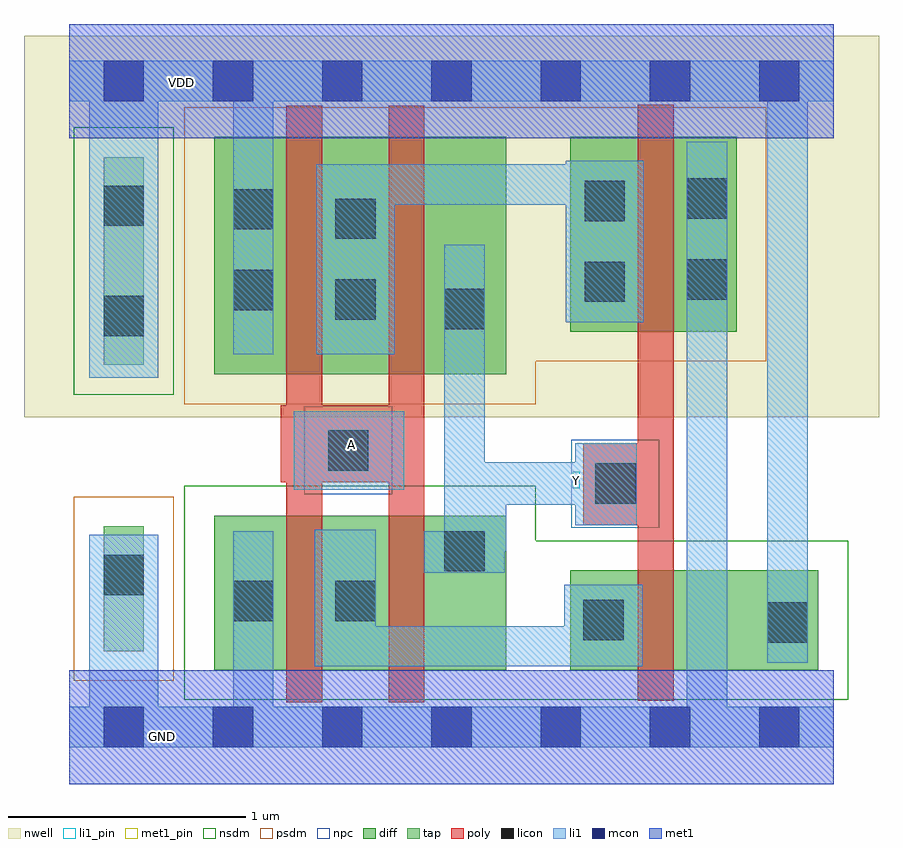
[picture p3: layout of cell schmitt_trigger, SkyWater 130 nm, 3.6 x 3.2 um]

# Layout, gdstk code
import gdstk
lib = gdstk.Library(unit=1e-6, precision=1e-09)
def R(c, l, rs):  # rectangles x0, y0, x1, y1
    for r in rs: c.add(gdstk.rectangle(r[:2], r[2:], *l))
def A(c, l, x, y, w, h, nx, ny, dx, dy):  # array of equal rectangles
    R(c, l, [(x+i*dx, y+j*dy, x+i*dx+w, y+j*dy+h) for i in range(nx) for j in range(ny)])
nwell = (64, 20)
diff = (65, 20)
tap = (65, 44)
poly = (66, 20)
licon = (66, 44)
li1_pin = (67, 16)
li1 = (67, 20)
mcon = (67, 44)
met1_pin = (68, 16)
met1 = (68, 20)
nsdm = (93, 44)
psdm = (94, 20)
npc = (95, 20)

schmitt_trigger = lib.new_cell('schmitt_trigger')
R(schmitt_trigger, nwell, [(1.695,1.545,5.295,3.15)])
R(schmitt_trigger, diff, [(2.495,0.48,3.725,1.13), (3.995,0.48,5.04,0.9), (2.495,1.725,3.725,2.725), (3.995,1.905,4.695,2.725)])
R(schmitt_trigger, tap, [(2.03,0.56,2.2,1.085), (2.03,1.765,2.2,2.64)])
R(schmitt_trigger, poly, [(2.8,0.345,2.95,1.27), (3.23,0.345,3.38,1.27), (4.28,0.35,4.43,1.09), (4.05,1.09,4.43,1.435), (2.775,1.27,3.38,1.595), (4.28,1.435,4.43,2.86), (2.8,1.595,2.95,2.855), (3.23,1.595,3.38,2.855)])
R(schmitt_trigger, licon, [(4.825,0.595,4.995,0.765), (4.05,0.605,4.22,0.775), (2.575,0.685,2.745,0.855), (3.005,0.685,3.175,0.855), (2.03,0.795,2.2,0.965), (3.465,0.895,3.635,1.065), (4.1,1.18,4.27,1.35), (2.975,1.32,3.145,1.49), (2.03,1.885,2.2,2.055), (3.465,1.915,3.635,2.085), (3.005,1.955,3.175,2.125), (2.575,1.995,2.745,2.165), (4.055,2.03,4.225,2.2), (4.485,2.04,4.655,2.21), (3.005,2.295,3.175,2.465), (2.575,2.335,2.745,2.505), (2.03,2.35,2.2,2.52), (4.055,2.37,4.225,2.54), (4.485,2.38,4.655,2.55)])
R(schmitt_trigger, li1_pin, [(4.005,1.245,4.035,1.315), (3.05,1.405,3.1,1.455)])
R(schmitt_trigger, li1, [(1.885,0.155,5.105,0.325), (1.97,0.325,2.26,1.05), (2.575,0.325,2.745,1.065), (4.485,0.325,4.655,2.705), (2.92,0.495,4.3,0.665), (4.825,0.51,4.995,2.875), (2.92,0.665,3.175,1.07), (3.97,0.665,4.3,0.84), (3.38,0.89,3.72,0.98), (3.38,0.98,3.725,1.065), (3.465,1.065,3.725,1.175), (4.015,1.09,4.275,1.175), (3.465,1.175,4.275,1.355), (2.83,1.24,3.295,1.57), (3.465,1.355,3.635,2.27), (4.015,1.355,4.275,1.435), (1.97,1.71,2.26,2.875), (2.575,1.81,2.745,2.875), (2.925,1.81,3.255,2.44), (3.975,1.945,4.305,2.44), (2.925,2.44,4.305,2.61), (3.975,2.61,4.305,2.625), (1.885,2.875,5.105,3.045)])
A(schmitt_trigger, mcon, 2.03, 0.155, 0.17, 0.17, 7, 2, 0.46, 2.72)
R(schmitt_trigger, met1_pin, [(2.265,0.19,2.295,0.215), (2.355,2.93,2.365,2.975)])
R(schmitt_trigger, met1, [(1.885,0,5.105,0.48), (1.885,2.72,5.105,3.2)])
R(schmitt_trigger, nsdm, [(2.37,0.355,5.165,1.025), (2.37,1.025,3.85,1.255), (1.905,1.64,2.325,2.765)])
R(schmitt_trigger, psdm, [(1.905,0.435,2.325,1.21), (2.37,1.6,3.85,1.78), (2.37,1.78,4.82,2.85)])
R(schmitt_trigger, npc, [(4,1.08,4.37,1.45), (2.875,1.22,3.245,1.59)])
schmitt_trigger.add(gdstk.Label('A', (3.075,1.43), layer=67, texttype=5))
schmitt_trigger.add(gdstk.Label('Y', (4.02,1.28), layer=67, texttype=5))
schmitt_trigger.add(gdstk.Label('GND', (2.28,0.202), layer=68, texttype=5))
schmitt_trigger.add(gdstk.Label('VDD', (2.36,2.952), layer=68, texttype=5))

lib.write_gds('schmitt_trigger.gds')
